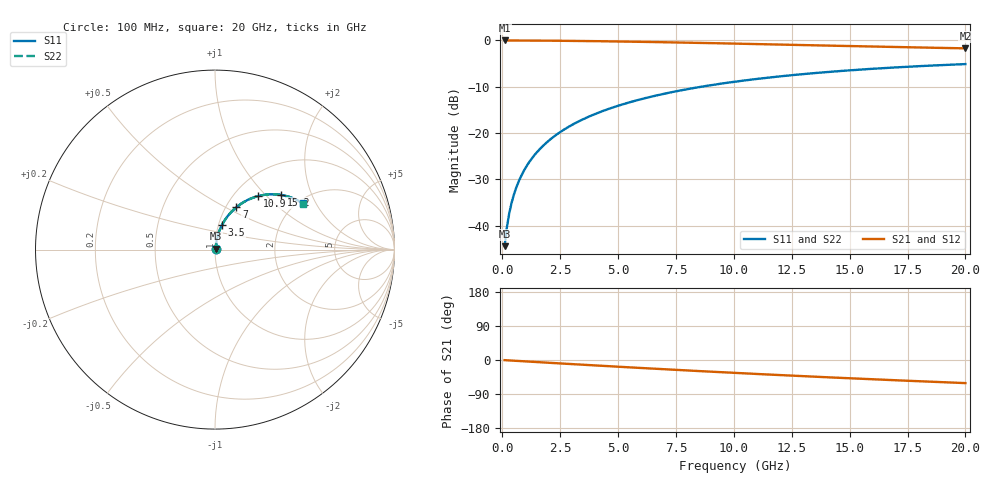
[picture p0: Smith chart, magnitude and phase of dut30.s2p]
! Touchstone file exported from HFSS 2026.1.0
!  File:  C:/ffzhzh/LocalFiles/Ansys_Project_Files/temp_train_BSMRDL_30_1782882179_8056.aedt
!  Generated:  01:04:24 PM Jul  1, 2026
!  Design:  BSMRDL
!  Project:  temp_train_BSMRDL_30_1782882179_8056
! Variables:
!  h_bsmrdl = 5.25um
!  h_ox = 20um
!  h_rdl = 5um
!  h_sub = 80um
!  h_tmrdl = 5um
!  h_tsv = 80um
!  h_via = 3um
!  l_bsmrdl = 944.78um
!  l_sub = 1344.78um
!  l_tmrdl = 200um
!  m_sub = 200um
!  pitch = 48.89um
!  r_tsv = 6um
!  s_tmrdl = 10um
!  w_bsmrdl = 15.74um
!  w_sub = 500um
!  w_tmrdl = 12um
!  x_tsv_center1 = 206um
!  x_tsv_center2 = 1166.52um
!  x_tsv_center3 = 1378.52um
!  x_tsv_center4 = 2339.04um
!  x_tsv_center5 = 2551.04um
!  x_tsv_center6 = 3511.56um
# GHz S MA R 50.000000
! Terminal data exported
! Port[1] = BSM_RDL1_1_T1
! Port[2] = BSM_RDL1_1_T2
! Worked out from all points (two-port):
!   200 points, 100 MHz to 20 GHz, reference 50 ohm
!   highest |S21| = -0.04 dB at 100 MHz (marker M1); lowest = -1.7 dB at 20 GHz (marker M2)
!   |S21| within 3 dB of the highest: start of sweep to end of sweep
!   lowest |S11| = -44.4 dB at 100 MHz (marker M3), VSWR 1.01, Z = 50.4 + j0.437 ohm
!   |S11| at or under -10 dB: start of sweep to 8.627 GHz
!   |S22| runs from -44.4 to -5.1 dB; largest |S21 - S12| = 1.1e-14
!   S11 on the Smith chart (normalised r, x): 100 MHz: 1.01, +0.01; 3.5 GHz: 1.04, +0.29; 7 GHz: 1.12, +0.57; 10.9 GHz: 1.28, +0.89; 15.2 GHz: 1.57, +1.24; 20 GHz: 2.12, +1.58
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0.1  0.005995 46.2  0.9959 -0.4  0.9959 -0.4  0.005995 46.2
! Gamma 0 0 0 0
! Port Impedance 50 0 50 0
0.2  0.009625 62.9  0.9957 -0.8  0.9957 -0.8  0.009626 62.9
0.3  0.01355 69.8  0.9955 -1.1  0.9955 -1.1  0.01355 69.8
0.4  0.01754 73.4  0.9953 -1.5  0.9953 -1.5  0.01754 73.4
0.5  0.02156 75.6  0.9951 -1.8  0.9951 -1.8  0.02156 75.6
0.7  0.02964 78.0  0.9947 -2.6  0.9947 -2.6  0.02964 78.0
1  0.04181 79.4  0.9941 -3.7  0.9941 -3.7  0.04181 79.4
1.4  0.05805 79.6  0.9929 -5.1  0.9929 -5.1  0.05805 79.6
2  0.08223 78.6  0.9907 -7.3  0.9907 -7.3  0.08223 78.6
2.7  0.11 76.7  0.9872 -9.8  0.9872 -9.8  0.11 76.7
3.5  0.1409 74.3  0.9823 -12.6  0.9823 -12.6  0.1409 74.3
4.2  0.1672 72.0  0.9773 -15.0  0.9773 -15.0  0.1672 72.0
5  0.1964 69.5  0.971 -17.8  0.971 -17.8  0.1964 69.5
6.8  0.2585 63.8  0.9548 -23.8  0.9548 -23.8  0.2585 63.7
7  0.2651 63.2  0.9529 -24.4  0.9529 -24.4  0.2651 63.1
8.5  0.3124 58.5  0.9376 -29.2  0.9376 -29.2  0.3124 58.5
10.1  0.3587 53.8  0.9204 -34.2  0.9204 -34.2  0.3587 53.7
10.9  0.3803 51.4  0.9115 -36.6  0.9115 -36.6  0.3803 51.4
13.4  0.4406 44.4  0.8837 -43.8  0.8837 -43.8  0.4406 44.3
15.2  0.4778 39.6  0.8643 -48.8  0.8643 -48.8  0.4778 39.5
16.7  0.5049 35.8  0.8489 -52.7  0.8489 -52.7  0.5049 35.7
20  0.5534 27.7  0.8187 -61.0  0.8187 -61.0  0.5534 27.6
